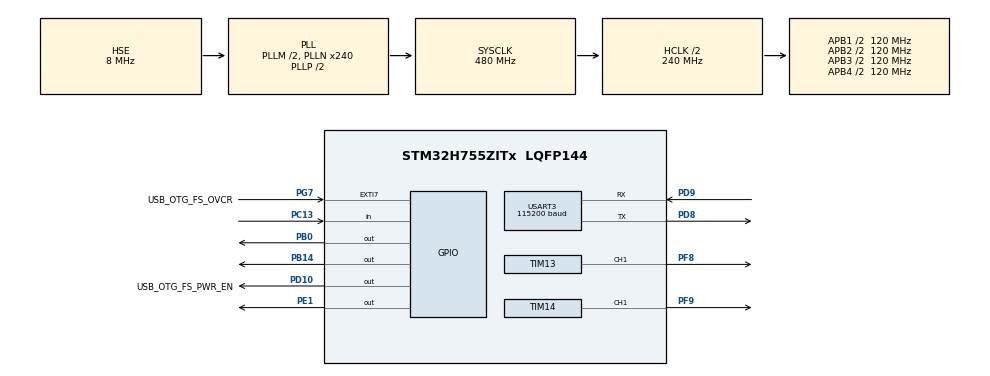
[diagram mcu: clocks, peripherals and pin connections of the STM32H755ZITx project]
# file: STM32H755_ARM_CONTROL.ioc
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CortexM4.IPs=FATFS_M4\:I,FREERTOS_M4\:I,IWDG2\:I,RCC,WWDG2\:I,DMA,BDMA,MDMA,NVIC2\:I,ETH,USART3,DEBUG,PDM2PCM_M4\:I,PWR,RESMGR_UTILITY,SYS_M4\:I,USB_DEVICE_M4\:I,USB_HOST_M4\:I,CORTEX_M4\:I,GPIO,OPENAMP_M4\:I,VREFBUF,NUCLEO-H755ZI-Q
CortexM7.IPs=FATFS_M7\:I,FREERTOS_M7\:I,IWDG1\:I,RCC\:I,WWDG1\:I,DMA\:I,BDMA\:I,MDMA\:I,NVIC1\:I,ETH\:I,USART3\:I,USB_OTG_FS\:I,SYS\:I,CORTEX_M7\:I,DEBUG\:I,PDM2PCM_M7\:I,PWR\:I,RESMGR_UTILITY\:I,USB_DEVICE_M7\:I,USB_HOST_M7\:I,GPIO\:I,OPENAMP_M7\:I,VREFBUF\:I,NUCLEO-H755ZI-Q\:I,TIM13\:I,TIM14\:I
Mcu.Family=STM32H7
Mcu.Name=STM32H755ZITx
Mcu.Package=LQFP144
NVIC1.PriorityGroup=NVIC_PRIORITYGROUP_4
NVIC2.PriorityGroup=NVIC_PRIORITYGROUP_4
PA1.PinAttribute=CortexM7
PA1.Signal=ETH_REF_CLK
PA11.PinAttribute=CortexM7
PA11.Signal=USB_OTG_FS_DM
PA12.PinAttribute=CortexM7
PA12.Signal=USB_OTG_FS_DP
PA2.PinAttribute=CortexM7
PA2.Signal=ETH_MDIO
PA7.PinAttribute=CortexM7
PA7.Signal=ETH_CRS_DV
PA8.PinAttribute=CortexM7
PA8.Signal=USB_OTG_FS_SOF
PA9.PinAttribute=CortexM7
PA9.Signal=USB_OTG_FS_VBUS
PB0.PinAttribute=Free
PB0.Signal=GPIO_Output
PB13.PinAttribute=CortexM7
PB13.Signal=ETH_TXD1
PB14.PinAttribute=Free
PB14.Signal=GPIO_Output
PC1.PinAttribute=CortexM7
PC1.Signal=ETH_MDC
PC13.PinAttribute=Free
PC13.Signal=GPIO_Input
PC14-OSC32_IN\ (OSC32_IN).Mode=LSE-External-Oscillator
PC14-OSC32_IN\ (OSC32_IN).PinAttribute=Free
PC14-OSC32_IN\ (OSC32_IN).Signal=RCC_OSC32_IN
PC15-OSC32_OUT\ (OSC32_OUT).Mode=LSE-External-Oscillator
PC15-OSC32_OUT\ (OSC32_OUT).PinAttribute=Free
PC15-OSC32_OUT\ (OSC32_OUT).Signal=RCC_OSC32_OUT
PC4.PinAttribute=CortexM7
PC4.Signal=ETH_RXD0
PC5.PinAttribute=CortexM7
PC5.Signal=ETH_RXD1
PD10.GPIO_Label=USB_OTG_FS_PWR_EN
PD10.PinAttribute=Free
PD10.Signal=GPIO_Output
PD8.Mode=Asynchronous
PD8.PinAttribute=CortexM7
PD8.Signal=USART3_TX
PD9.Mode=Asynchronous
PD9.PinAttribute=CortexM7
PD9.Signal=USART3_RX
PE1.PinAttribute=Free
PE1.Signal=GPIO_Output
PF8.PinAttribute=CortexM7
PF8.Signal=S_TIM13_CH1
PF9.PinAttribute=CortexM7
PF9.Signal=S_TIM14_CH1
PG11.PinAttribute=CortexM7
PG11.Signal=ETH_TX_EN
PG13.PinAttribute=CortexM7
PG13.Signal=ETH_TXD0
PG7.GPIO_Label=USB_OTG_FS_OVCR
PG7.PinAttribute=Free
PG7.Signal=GPXTI7
PH0-OSC_IN\ (PH0).Mode=HSE-External-Clock-Source
PH0-OSC_IN\ (PH0).PinAttribute=Free
PH0-OSC_IN\ (PH0).Signal=RCC_OSC_IN
PH1-OSC_OUT\ (PH1).PinAttribute=Free
PH1-OSC_OUT\ (PH1).Signal=RCC_OSC_OUT
ProjectManager.HeapSize=M4-0x200,M7-0x200
ProjectManager.StackSize=M4-0x400,M7-0x400
ProjectManager.TargetToolchain=STM32CubeIDE
RCC.ADCFreq_Value=16125000
RCC.APB1Freq_Value=120000000
RCC.APB2Freq_Value=120000000
RCC.APB3Freq_Value=120000000
RCC.APB4Freq_Value=120000000
RCC.CortexFreq_Value=480000000
RCC.D1PPRE=RCC_APB3_DIV2
RCC.D2PPRE1=RCC_APB1_DIV2
RCC.D2PPRE2=RCC_APB2_DIV2
RCC.D3PPRE=RCC_APB4_DIV2
RCC.DIVM1=2
RCC.DIVN1=240
RCC.DIVQ1=5
RCC.HCLKFreq_Value=240000000
RCC.HPRE=RCC_HCLK_DIV2
RCC.HSE_VALUE=8000000
RCC.PLL2FRACN=0
RCC.PLL3FRACN=0
RCC.PLLFRACN=0
RCC.PLLSourceVirtual=RCC_PLLSOURCE_HSE
RCC.SYSCLKFreq_VALUE=480000000
RCC.SYSCLKSource=RCC_SYSCLKSOURCE_PLLCLK
RCC.SupplySource=PWR_DIRECT_SMPS_SUPPLY
RCC.USBFreq_Value=192000000
SH.S_TIM13_CH1.0=TIM13_CH1,PWM Generation1 CH1
SH.S_TIM14_CH1.0=TIM14_CH1,PWM Generation1 CH1
TIM13.Channel=TIM_CHANNEL_1
TIM13.Period=19999
TIM13.Prescaler=239
TIM14.Channel=TIM_CHANNEL_1
TIM14.Period=19999
TIM14.Prescaler=239
USART3.BaudRate=115200
USART3.VirtualMode-Asynchronous=VM_ASYNC
VP_SYS_M4_VS_Systick.Mode=SysTick
VP_TIM13_VS_ClockSourceINT.Mode=Enable_Timer
VP_TIM14_VS_ClockSourceINT.Mode=Enable_Timer
board=NUCLEO-H755ZI-Q

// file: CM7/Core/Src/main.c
/* USER CODE BEGIN Header */
/**
  ******************************************************************************
  * @file           : main.c
  * @brief          : Main program body
  ******************************************************************************
  * @attention
  *
  * Copyright (c) 2024 STMicroelectronics.
  * All rights reserved.
  *
  * This software is licensed under terms that can be found in the LICENSE file
  * in the root directory of this software component.
  * If no LICENSE file comes with this software, it is provided AS-IS.
  *
  ******************************************************************************
  */
/* USER CODE END Header */
#include "main.h"

/* USER CODE BEGIN Includes */
//#include <stdio.h>
#include "robot_control.h"
#include "control_routines.h"
#include "myprintf.h"

/* USER CODE END Includes */

/* USER CODE BEGIN PD */

#ifndef HSEM_ID_0
#define HSEM_ID_0 (0U) /* HW semaphore 0*/
#endif

/* USER CODE END PD */

/* USER CODE BEGIN PM */
#define RAD_TO_DEG 57.2957795f

/* USER CODE END PM */

TIM_HandleTypeDef htim13;
TIM_HandleTypeDef htim14;

UART_HandleTypeDef huart3;

void SystemClock_Config(void);
static void MX_GPIO_Init(void);
static void MX_TIM13_Init(void);
static void MX_TIM14_Init(void);
static void MX_USART3_UART_Init(void);

/* USER CODE BEGIN 0 */
// Inicialización de Waypoints
Waypoint waypoints_array[2] = {
	{1.0f, 1.0f, 0},  // Waypoint 1
	{2.0f, 2.0f, 0}   // Waypoint 2
};
Path trayectory = {waypoints_array, 2, 0};
RobotState StateRobot = {0.0f, 0.0f, 0.0f, 0.0f, 0.0f};

volatile RobotControl ControlSignaling = {0.0f, 0.0f};

//static Status Robot_status = IDLE;
arm_pid_instance_f32 pid_delta;
/* USER CODE END 0 */

int main(void)
{

/* USER CODE BEGIN Boot_Mode_Sequence_0 */
  int32_t timeout;
/* USER CODE END Boot_Mode_Sequence_0 */

/* USER CODE BEGIN Boot_Mode_Sequence_1 */
  /* Wait until CPU2 boots and enters in stop mode or timeout*/
  timeout = 0xFFFF;
  while((__HAL_RCC_GET_FLAG(RCC_FLAG_D2CKRDY) != RESET) && (timeout-- > 0));
  if ( timeout < 0 )
  {
  Error_Handler();
  }
/* USER CODE END Boot_Mode_Sequence_1 */
  /* MCU Configuration--------------------------------------------------------*/

  /* Reset of all peripherals, Initializes the Flash interface and the Systick. */
  HAL_Init();

  /* USER CODE BEGIN Init */
  //Servo_Init(htim13);
  //Motor_Init(htim14);
  PID_Init(&pid_delta, 0.5f, 0.05f, 0.001f);
  /* USER CODE END Init */

  /* Configure the system clock */
  SystemClock_Config();
/* USER CODE BEGIN Boot_Mode_Sequence_2 */
/* When system initialization is finished, Cortex-M7 will release Cortex-M4 by means of
HSEM notification */
/*HW semaphore Clock enable*/
__HAL_RCC_HSEM_CLK_ENABLE();
/*Take HSEM */
HAL_HSEM_FastTake(HSEM_ID_0);
/*Release HSEM in order to notify the CPU2(CM4)*/
HAL_HSEM_Release(HSEM_ID_0,0);
/* wait until CPU2 wakes up from stop mode */
timeout = 0xFFFF;
while((__HAL_RCC_GET_FLAG(RCC_FLAG_D2CKRDY) == RESET) && (timeout-- > 0));
if ( timeout < 0 )
{
Error_Handler();
}
/* USER CODE END Boot_Mode_Sequence_2 */

  /* USER CODE BEGIN SysInit */
	arm_pid_instance_f32 pid;

	// Inicialización
	pid.Kp = 1.0f;  // Ganancia proporcional
	pid.Ki = 0.5f;  // Ganancia integral
	pid.Kd = 0.01f; // Ganancia derivativa

	// Llamar a la función de inicialización
	arm_pid_init_f32(&pid, 1);  // 1: reset del estado interno del PID

	float32_t setpoint_angle = 45.0f; // Ángulo deseado
	float32_t current_angle = 0.0f;   // Ángulo inicial
	float32_t pid_output = 0.0f;      // Salida del PID
	float32_t dt = 0.1f;              // Intervalo de tiempo (100 ms)

  /* USER CODE END SysInit */

  /* Initialize all configured peripherals */
  MX_GPIO_Init();
  MX_TIM13_Init();
  MX_TIM14_Init();
  MX_USART3_UART_Init();
  /* USER CODE BEGIN 2 */
  float32_t delton = 0.0f;
  float32_t velocidad = 0.0f;
  float32_t pid_control = 0.0f;
  //float32_t dt = 0.1f;
  /* USER CODE END 2 */

  /* Infinite loop */
  while (1)
  {
	  /*
	  printf("Ya prendi\n\r\r");
	  PURE_PURSUIT(&StateRobot, &delton, &velocidad, &trayectory);
	  pid_control = PID_Angle(&pid_delta, delton, StateRobot.delta);
	  printf("Posicion del robot actual: (%f, %f, %f)\n\n\r\r", StateRobot.x, StateRobot.y, StateRobot.delta);
	  printf("Angulo Necesario para alcanzar el waypoint: (%f)\n\n\r\r", delton);
	  printf("Señal de Control del PID:  %f\n\n\r\r", pid_control);
	  printf("Señal de Velocidad de la chingadera:  %f\n\n\r\r", velocidad);
	  StateRobot.delta = pid_control;
	  HAL_Delay(500);
	  */
	  /*
	  for (int i = 0; i < 100; i++) {
	      // Calcular el error
	      float error = setpoint_angle - current_angle;

	      // Calcular la salida del PID
	      pid_output = arm_pid_f32(&pid, error);

	      // Simular el sistema (por ejemplo, movimiento del ángulo)
	      current_angle += pid_output * dt;

	      // Mostrar resultados
	      printf("Iteración %d: Salida PID: %.2f, Ángulo actual: %.2f\n\n\r\r",
	             i, pid_output, current_angle);

	      // Simular un retardo si estuvieras en hardware
	      HAL_Delay(100);
	  }
	  */

	  //HAL_Delay(100);
	  // Simulación
	  for (int i = 0; i < 50; i++) {
		  printf("Iteración %d\n", i);

		  // Calcular el ángulo y la velocidad deseada usando PURE_PURSUIT
		  PURE_PURSUIT(&StateRobot, &delton, &velocidad, &trayectory);

		  // Calcular la señal de control del PID
		  pid_control = PID_Angle(&pid_delta, delton, StateRobot.delta);

		  // Imprimir valores
		  printf("Posición actual del robot: (%.2f, %.2f, %.2f°)\n\r",
				 StateRobot.x, StateRobot.y, StateRobot.theta * RAD_TO_DEG);
		  printf("Ángulo deseado hacia el waypoint: %.2f°\n\r", delton * RAD_TO_DEG);
		  printf("Señal de control del PID: %.2f\n\r", pid_control);
		  printf("Velocidad lineal deseada: %.2f m/s\n\r", velocidad);

		  // Actualizar el estado del robot (simulación física básica)
		  StateRobot.delta = pid_control;
		  StateRobot.theta += StateRobot.delta * 0.1f;  // Cambio de orientación basado en delta
		  StateRobot.x += velocidad * cos(StateRobot.theta) * 0.1f; // Movimiento en X
		  StateRobot.y += velocidad * sin(StateRobot.theta) * 0.1f; // Movimiento en Y

		  // Pausa entre iteraciones (si fuera en hardware)
		  HAL_Delay(10);
		  printf("\n\r");
	  }

  }
}

void SystemClock_Config(void)
{
  RCC_OscInitTypeDef RCC_OscInitStruct = {0};
  RCC_ClkInitTypeDef RCC_ClkInitStruct = {0};

  /** Supply configuration update enable
  */
  HAL_PWREx_ConfigSupply(PWR_DIRECT_SMPS_SUPPLY);

  /** Configure the main internal regulator output voltage
  */
  __HAL_PWR_VOLTAGESCALING_CONFIG(PWR_REGULATOR_VOLTAGE_SCALE0);

  while(!__HAL_PWR_GET_FLAG(PWR_FLAG_VOSRDY)) {}

  /** Initializes the RCC Oscillators according to the specified parameters
  * in the RCC_OscInitTypeDef structure.
  */
  RCC_OscInitStruct.OscillatorType = RCC_OSCILLATORTYPE_HSE;
  RCC_OscInitStruct.HSEState = RCC_HSE_BYPASS;
  RCC_OscInitStruct.PLL.PLLState = RCC_PLL_ON;
  RCC_OscInitStruct.PLL.PLLSource = RCC_PLLSOURCE_HSE;
  RCC_OscInitStruct.PLL.PLLM = 2;
  RCC_OscInitStruct.PLL.PLLN = 240;
  RCC_OscInitStruct.PLL.PLLP = 2;
  RCC_OscInitStruct.PLL.PLLQ = 5;
  RCC_OscInitStruct.PLL.PLLR = 2;
  RCC_OscInitStruct.PLL.PLLRGE = RCC_PLL1VCIRANGE_2;
  RCC_OscInitStruct.PLL.PLLVCOSEL = RCC_PLL1VCOWIDE;
  RCC_OscInitStruct.PLL.PLLFRACN = 0;
  if (HAL_RCC_OscConfig(&RCC_OscInitStruct) != HAL_OK)
  {
    Error_Handler();
  }

  /** Initializes the CPU, AHB and APB buses clocks
  */
  RCC_ClkInitStruct.ClockType = RCC_CLOCKTYPE_HCLK|RCC_CLOCKTYPE_SYSCLK
                              |RCC_CLOCKTYPE_PCLK1|RCC_CLOCKTYPE_PCLK2
                              |RCC_CLOCKTYPE_D3PCLK1|RCC_CLOCKTYPE_D1PCLK1;
  RCC_ClkInitStruct.SYSCLKSource = RCC_SYSCLKSOURCE_PLLCLK;
  RCC_ClkInitStruct.SYSCLKDivider = RCC_SYSCLK_DIV1;
  RCC_ClkInitStruct.AHBCLKDivider = RCC_HCLK_DIV2;
  RCC_ClkInitStruct.APB3CLKDivider = RCC_APB3_DIV2;
  RCC_ClkInitStruct.APB1CLKDivider = RCC_APB1_DIV2;
  RCC_ClkInitStruct.APB2CLKDivider = RCC_APB2_DIV2;
  RCC_ClkInitStruct.APB4CLKDivider = RCC_APB4_DIV2;

  if (HAL_RCC_ClockConfig(&RCC_ClkInitStruct, FLASH_LATENCY_4) != HAL_OK)
  {
    Error_Handler();
  }
}

static void MX_TIM13_Init(void)
{

  TIM_OC_InitTypeDef sConfigOC = {0};

  htim13.Instance = TIM13;
  htim13.Init.Prescaler = 239;
  htim13.Init.CounterMode = TIM_COUNTERMODE_UP;
  htim13.Init.Period = 19999;
  htim13.Init.ClockDivision = TIM_CLOCKDIVISION_DIV1;
  htim13.Init.AutoReloadPreload = TIM_AUTORELOAD_PRELOAD_DISABLE;
  if (HAL_TIM_Base_Init(&htim13) != HAL_OK)
  {
    Error_Handler();
  }
  if (HAL_TIM_PWM_Init(&htim13) != HAL_OK)
  {
    Error_Handler();
  }
  sConfigOC.OCMode = TIM_OCMODE_PWM1;
  sConfigOC.Pulse = 0;
  sConfigOC.OCPolarity = TIM_OCPOLARITY_HIGH;
  sConfigOC.OCFastMode = TIM_OCFAST_DISABLE;
  if (HAL_TIM_PWM_ConfigChannel(&htim13, &sConfigOC, TIM_CHANNEL_1) != HAL_OK)
  {
    Error_Handler();
  }
  HAL_TIM_MspPostInit(&htim13);

}

static void MX_TIM14_Init(void)
{

  TIM_OC_InitTypeDef sConfigOC = {0};

  htim14.Instance = TIM14;
  htim14.Init.Prescaler = 239;
  htim14.Init.CounterMode = TIM_COUNTERMODE_UP;
  htim14.Init.Period = 19999;
  htim14.Init.ClockDivision = TIM_CLOCKDIVISION_DIV1;
  htim14.Init.AutoReloadPreload = TIM_AUTORELOAD_PRELOAD_DISABLE;
  if (HAL_TIM_Base_Init(&htim14) != HAL_OK)
  {
    Error_Handler();
  }
  if (HAL_TIM_PWM_Init(&htim14) != HAL_OK)
  {
    Error_Handler();
  }
  sConfigOC.OCMode = TIM_OCMODE_PWM1;
  sConfigOC.Pulse = 0;
  sConfigOC.OCPolarity = TIM_OCPOLARITY_HIGH;
  sConfigOC.OCFastMode = TIM_OCFAST_DISABLE;
  if (HAL_TIM_PWM_ConfigChannel(&htim14, &sConfigOC, TIM_CHANNEL_1) != HAL_OK)
  {
    Error_Handler();
  }
  HAL_TIM_MspPostInit(&htim14);

}

static void MX_USART3_UART_Init(void)
{

  huart3.Instance = USART3;
  huart3.Init.BaudRate = 115200;
  huart3.Init.WordLength = UART_WORDLENGTH_8B;
  huart3.Init.StopBits = UART_STOPBITS_1;
  huart3.Init.Parity = UART_PARITY_NONE;
  huart3.Init.Mode = UART_MODE_TX_RX;
  huart3.Init.HwFlowCtl = UART_HWCONTROL_NONE;
  huart3.Init.OverSampling = UART_OVERSAMPLING_16;
  huart3.Init.OneBitSampling = UART_ONE_BIT_SAMPLE_DISABLE;
  huart3.Init.ClockPrescaler = UART_PRESCALER_DIV1;
  huart3.AdvancedInit.AdvFeatureInit = UART_ADVFEATURE_NO_INIT;
  if (HAL_UART_Init(&huart3) != HAL_OK)
  {
    Error_Handler();
  }
  if (HAL_UARTEx_SetTxFifoThreshold(&huart3, UART_TXFIFO_THRESHOLD_1_8) != HAL_OK)
  {
    Error_Handler();
  }
  if (HAL_UARTEx_SetRxFifoThreshold(&huart3, UART_RXFIFO_THRESHOLD_1_8) != HAL_OK)
  {
    Error_Handler();
  }
  if (HAL_UARTEx_DisableFifoMode(&huart3) != HAL_OK)
  {
    Error_Handler();
  }

}

static void MX_GPIO_Init(void)
{
  GPIO_InitTypeDef GPIO_InitStruct = {0};

  /* GPIO Ports Clock Enable */
  __HAL_RCC_GPIOF_CLK_ENABLE();
  __HAL_RCC_GPIOC_CLK_ENABLE();
  __HAL_RCC_GPIOA_CLK_ENABLE();
  __HAL_RCC_GPIOB_CLK_ENABLE();
  __HAL_RCC_GPIOD_CLK_ENABLE();
  __HAL_RCC_GPIOG_CLK_ENABLE();

  /*Configure GPIO pins : PC1 PC4 PC5 */
  GPIO_InitStruct.Pin = GPIO_PIN_1|GPIO_PIN_4|GPIO_PIN_5;
  GPIO_InitStruct.Mode = GPIO_MODE_AF_PP;
  GPIO_InitStruct.Pull = GPIO_NOPULL;
  GPIO_InitStruct.Speed = GPIO_SPEED_FREQ_LOW;
  GPIO_InitStruct.Alternate = GPIO_AF11_ETH;
  HAL_GPIO_Init(GPIOC, &GPIO_InitStruct);

  /*Configure GPIO pins : PA1 PA2 PA7 */
  GPIO_InitStruct.Pin = GPIO_PIN_1|GPIO_PIN_2|GPIO_PIN_7;
  GPIO_InitStruct.Mode = GPIO_MODE_AF_PP;
  GPIO_InitStruct.Pull = GPIO_NOPULL;
  GPIO_InitStruct.Speed = GPIO_SPEED_FREQ_LOW;
  GPIO_InitStruct.Alternate = GPIO_AF11_ETH;
  HAL_GPIO_Init(GPIOA, &GPIO_InitStruct);

  /*Configure GPIO pin : PB13 */
  GPIO_InitStruct.Pin = GPIO_PIN_13;
  GPIO_InitStruct.Mode = GPIO_MODE_AF_PP;
  GPIO_InitStruct.Pull = GPIO_NOPULL;
  GPIO_InitStruct.Speed = GPIO_SPEED_FREQ_LOW;
  GPIO_InitStruct.Alternate = GPIO_AF11_ETH;
  HAL_GPIO_Init(GPIOB, &GPIO_InitStruct);

  /*Configure GPIO pins : PA8 PA11 PA12 */
  GPIO_InitStruct.Pin = GPIO_PIN_8|GPIO_PIN_11|GPIO_PIN_12;
  GPIO_InitStruct.Mode = GPIO_MODE_AF_PP;
  GPIO_InitStruct.Pull = GPIO_NOPULL;
  GPIO_InitStruct.Speed = GPIO_SPEED_FREQ_LOW;
  GPIO_InitStruct.Alternate = GPIO_AF10_OTG1_FS;
  HAL_GPIO_Init(GPIOA, &GPIO_InitStruct);

  /*Configure GPIO pins : PG11 PG13 */
  GPIO_InitStruct.Pin = GPIO_PIN_11|GPIO_PIN_13;
  GPIO_InitStruct.Mode = GPIO_MODE_AF_PP;
  GPIO_InitStruct.Pull = GPIO_NOPULL;
  GPIO_InitStruct.Speed = GPIO_SPEED_FREQ_LOW;
  GPIO_InitStruct.Alternate = GPIO_AF11_ETH;
  HAL_GPIO_Init(GPIOG, &GPIO_InitStruct);

}

void Error_Handler(void)
{
  __disable_irq();
  while (1)
  {
  }
}
